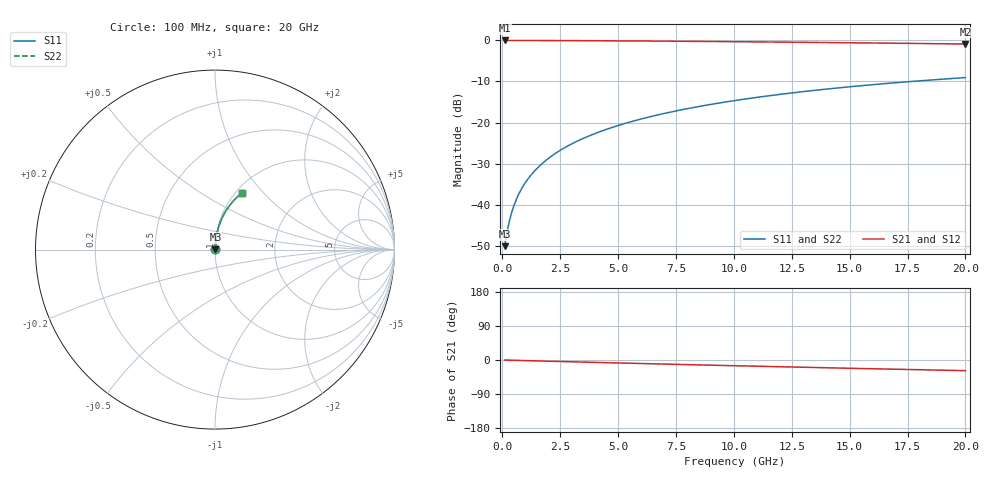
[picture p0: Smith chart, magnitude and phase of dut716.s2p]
! Touchstone file exported from HFSS 2024.1.0
!  File:  C:/UserFiles/LocalFiles/RDL_TSV_Batchsim/temp_RDL_top_716_1779850414.aedt
!  Generated:  10:56:07 AM May 27, 2026
!  Design:  RDL_top
!  Project:  temp_RDL_top_716_1779850414
!  Setup:  Setup1
!  Solution:  Sweep
! Variables:
!  dtsv = 10.80580581um
!  hbump = 3um
!  htsv = 65.03um
!  ldown = 100um
!  lrdl = 308.24um
!  p = 40
!  p1 = 57.83um
!  rhole = 1um
!  t = 450um
!  tdown = 3.915915916um
!  trdl = 3.28um
!  wdown = 15.38538539um
!  wrdl = 14.22um
# GHz S MA R 50.000000
! Terminal data exported
! Port[1] = Box2_T1
! Port[2] = Box2_T2
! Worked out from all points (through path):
!   200 points, 100 MHz to 20 GHz, reference 50 ohm
!   highest |S21| = -0.02 dB at 100 MHz (marker M1); lowest = -0.9 dB at 20 GHz (marker M2)
!   group delay of S21, straight-line fit = 3.9 ps
!   lowest |S11| = -50.1 dB at 100 MHz (marker M3), VSWR 1.01, Z = 50.3 + j0.191 ohm
!   |S11| at or under -10 dB: start of sweep to 17.66 GHz
!   |S22| runs from -50.1 to -9.1 dB; largest |S21 - S12| = 4.3e-15
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0.1  0.003137 37.2  0.9975 -0.2  0.9975 -0.2  0.003137 37.2
! Gamma 0 0 0 0
! Port Impedance 50 0 50 0
0.2  0.004558 56.1  0.9975 -0.3  0.9975 -0.3  0.004558 56.1
0.3  0.006221 65.2  0.9974 -0.5  0.9974 -0.5  0.006221 65.2
0.4  0.00796 70.3  0.9973 -0.6  0.9973 -0.6  0.00796 70.3
0.5  0.009726 73.5  0.9972 -0.8  0.9972 -0.8  0.009726 73.5
0.6  0.0115 75.7  0.9971 -1.0  0.9971 -1.0  0.0115 75.7
0.8  0.01508 78.5  0.9969 -1.3  0.9969 -1.3  0.01508 78.5
1.1  0.02047 80.9  0.9966 -1.8  0.9966 -1.8  0.02047 80.9
1.5  0.0277 82.5  0.9961 -2.4  0.9961 -2.4  0.0277 82.5
1.8  0.03315 83.1  0.9957 -2.9  0.9957 -2.9  0.03315 83.1
2.1  0.03861 83.5  0.9952 -3.3  0.9952 -3.3  0.03861 83.5
2.7  0.04959 83.8  0.994 -4.3  0.994 -4.3  0.04959 83.8
3.5  0.0643 83.7  0.992 -5.5  0.992 -5.5  0.0643 83.7
4.2  0.07723 83.3  0.9899 -6.6  0.9899 -6.6  0.07723 83.3
5  0.09206 82.7  0.9871 -7.8  0.9871 -7.8  0.09207 82.7
5.9  0.1088 81.9  0.9837 -9.2  0.9837 -9.2  0.1088 81.9
6.8  0.1255 81.0  0.9798 -10.5  0.9798 -10.5  0.1255 81.0
8.3  0.1533 79.2  0.9729 -12.7  0.9729 -12.7  0.1533 79.2
10.1  0.1864 77.0  0.9637 -15.2  0.9637 -15.2  0.1864 77.0
13.4  0.2451 72.7  0.9452 -19.7  0.9452 -19.7  0.2452 72.7
16.7  0.3007 68.4  0.925 -24.0  0.925 -24.0  0.3007 68.4
20  0.3524 64.3  0.9034 -28.2  0.9034 -28.2  0.3524 64.3
